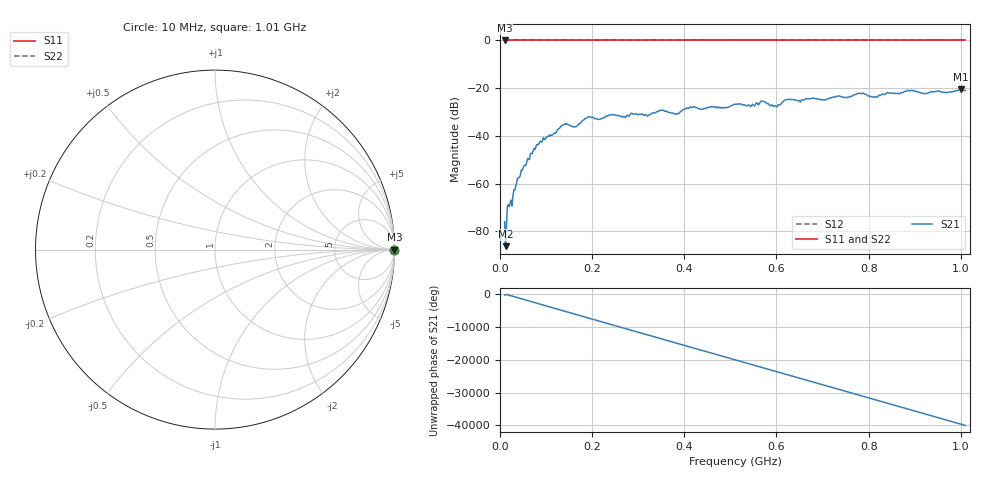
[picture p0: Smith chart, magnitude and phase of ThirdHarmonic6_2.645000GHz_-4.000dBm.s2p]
! 8/17/2025 5:59:55 AM
! C:\ANRITSUVNA\TEMP\TEMP.S2P
! CHANNEL.1
! TR.MEASUREMENT
! RAW.DATA
! RF.CORRECTION.OFF
! AVERAGING.OFF
! IF.BANDWIDTH: 5KHZ
! SWEEPTYPE:  FREQ.SWEEP(Linear)
! Reference Plane Port Info
! PORT:  PORT1  PORT2
! DISTANCE:  0  m  0  m
! TIME:  0  s  0  s
! PHASE.OFFSET:  0  deg.  0  deg.
! LOSS:  0  dB  0  dB
! REF.LOSS:  0  dB  0  dB
! REF.FREQ:  0  Hz  0  Hz
! Power Info
! POWER:  -20  dBm  -20  dBm
! EFF.POWER:  -20  dBm  -20  dBm
! SOURCE.ATTEN:  0  dB  0  dB
! TEST.ATTEN:  0  dB  0  dB
# GHZ S RI R 50.0
! FREQ.GHZ  S11RE  S11IM  S21RE  S21IM  S12RE  S12IM  S22RE  S22IM
!; PortSelection: Port_12
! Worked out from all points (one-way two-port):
!   501 points, 10 MHz to 1.01 GHz, reference 50 ohm
!   highest |S21| = -20.36 dB at 1 GHz (marker M1); lowest = -86.2 dB at 12 MHz (marker M2)
!   lowest |S11| = 0.0 dB at 10 MHz (marker M3)
!   |S11| at or under -10 dB: nowhere
!   |S22| runs from 0.0 to 0.0 dB; largest |S21 - S12| = 1.1
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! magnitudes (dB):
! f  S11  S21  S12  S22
! 10 MHz  0.0  -75.9  0.0  0.0
! 12 MHz  0.0  -86.2  0.0  0.0
! 20 MHz  0.0  -69.6  0.0  0.0
! 24 MHz  0.0  -66.9  0.0  0.0
! 42 MHz  0.0  -57.2  0.0  0.0
! 76 MHz  0.0  -45.6  0.0  0.0
! 136 MHz  0.0  -35.6  0.0  0.0
! 162 MHz  0.0  -36.3  0.0  0.0
! 178 MHz  0.0  -33.8  0.0  0.0
! 192 MHz  0.0  -31.9  0.0  0.0
! 322 MHz  0.0  -31.4  0.0  0.0
! 344 MHz  0.0  -29.8  0.0  0.0
! 384 MHz  0.0  -30.8  0.0  0.0
! 416 MHz  0.0  -28.1  0.0  0.0
! 510 MHz  0.0  -26.7  0.0  0.0
! 570 MHz  0.0  -25.4  0.0  0.0
! 598 MHz  0.0  -27.5  0.0  0.0
! 624 MHz  0.0  -24.7  0.0  0.0
! 678 MHz  0.0  -24.2  0.0  0.0
! 844 MHz  0.0  -22.0  0.0  0.0
! 1 GHz  0.0  -20.4  0.0  0.0
! 1.01 GHz  0.0  -21.0  0.0  0.0
